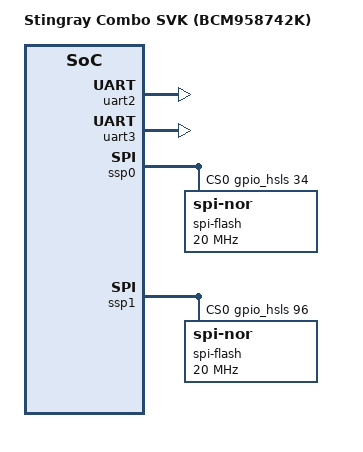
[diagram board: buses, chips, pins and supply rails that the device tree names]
FASTVC-BENCH-CORPUS:linux-main-100k-v1-e0bd41dc-8e12-4f1b-978d-a3645ae59da0
/*
 *  BSD LICENSE
 *
 *  Copyright(c) 2016-2017 Broadcom.  All rights reserved.
 *
 *  Redistribution and use in source and binary forms, with or without
 *  modification, are permitted provided that the following conditions
 *  are met:
 *
 *    * Redistributions of source code must retain the above copyright
 *      notice, this list of conditions and the following disclaimer.
 *    * Redistributions in binary form must reproduce the above copyright
 *      notice, this list of conditions and the following disclaimer in
 *      the documentation and/or other materials provided with the
 *      distribution.
 *    * Neither the name of Broadcom nor the names of its
 *      contributors may be used to endorse or promote products derived
 *      from this software without specific prior written permission.
 *
 *  THIS SOFTWARE IS PROVIDED BY THE COPYRIGHT HOLDERS AND CONTRIBUTORS
 *  "AS IS" AND ANY EXPRESS OR IMPLIED WARRANTIES, INCLUDING, BUT NOT
 *  LIMITED TO, THE IMPLIED WARRANTIES OF MERCHANTABILITY AND FITNESS FOR
 *  A PARTICULAR PURPOSE ARE DISCLAIMED. IN NO EVENT SHALL THE COPYRIGHT
 *  OWNER OR CONTRIBUTORS BE LIABLE FOR ANY DIRECT, INDIRECT, INCIDENTAL,
 *  SPECIAL, EXEMPLARY, OR CONSEQUENTIAL DAMAGES (INCLUDING, BUT NOT
 *  LIMITED TO, PROCUREMENT OF SUBSTITUTE GOODS OR SERVICES; LOSS OF USE,
 *  DATA, OR PROFITS; OR BUSINESS INTERRUPTION) HOWEVER CAUSED AND ON ANY
 *  THEORY OF LIABILITY, WHETHER IN CONTRACT, STRICT LIABILITY, OR TORT
 *  (INCLUDING NEGLIGENCE OR OTHERWISE) ARISING IN ANY WAY OUT OF THE USE
 *  OF THIS SOFTWARE, EVEN IF ADVISED OF THE POSSIBILITY OF SUCH DAMAGE.
 */

/dts-v1/;

#include "bcm958742-base.dtsi"

/ {
	compatible = "brcm,bcm958742k", "brcm,stingray";
	model = "Stingray Combo SVK (BCM958742K)";
};

&gphy0 {
	enet-phy-lane-swap;
};
/* bench 7596.0.0 3c4a253217e9 */
/* bench 7596.0.1 e0bf745a7cff */
/* bench 7596.0.2 8d1f4cb2e558 */
/* bench 7596.0.3 6dae5c3418d6 */
/* bench 7596.0.4 f5b376d3d87c */
/* bench 7596.0.5 e13bfd479f59 */
/* bench 7596.0.6 24cef60df0dd */
/* bench 7596.0.7 f2621169e35d */
/* bench 7596.0.8 5c34656c3ba9 */

&sdio0 {
	mmc-ddr-1_8v;
};

&uart2 {
	status = "okay";
};

&uart3 {
	status = "okay";
};

&ssp0 {
	pinctrl-0 = <&spi0_pins>;
	pinctrl-names = "default";
	cs-gpios = <&gpio_hsls 34 0>;
	status = "okay";

	spi-flash@0 {
		compatible = "jedec,spi-nor";
		reg = <0>;
		spi-max-frequency = <20000000>;
		#address-cells = <1>;
		#size-cells = <1>;
	};
};

/* bench 14943.1.0 6e750351fd30 */
/* bench 14943.1.1 fc2f5c63dcb8 */
/* bench 14943.1.2 970ccd812c31 */
/* bench 14943.1.3 9d70cce74593 */
/* bench 14943.1.4 9379de022601 */
/* bench 14943.1.5 7b307512cec8 */
/* bench 14943.1.6 7f9de3a0f488 */
/* bench 14943.1.7 d86d5b37998d */
/* bench 14943.1.8 c1ac5f99b2bd */
/* bench 14943.1.9 4ef3881298e5 */
/* bench 14943.1.10 c99b6116fd36 */
/* bench 14943.1.11 76aa4b8f560d */
&ssp1 {
	pinctrl-0 = <&spi1_pins>;
	pinctrl-names = "default";
	cs-gpios = <&gpio_hsls 96 0>;
	status = "okay";

	spi-flash@0 {
		compatible = "jedec,spi-nor";
		reg = <0>;
		spi-max-frequency = <20000000>;
		#address-cells = <1>;
		#size-cells = <1>;
	};
};
